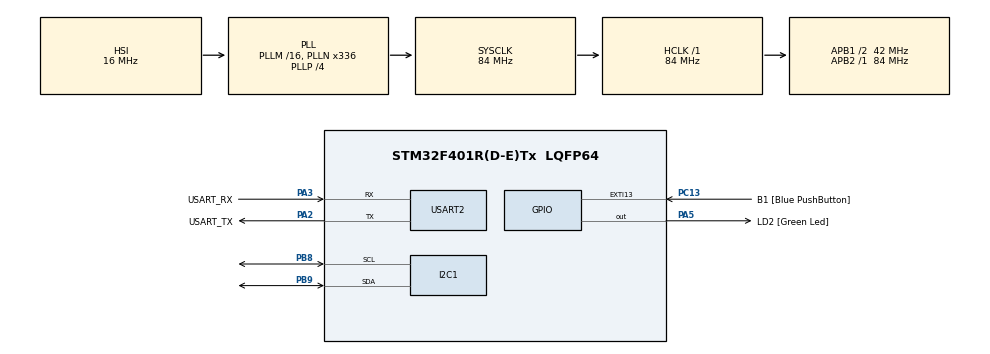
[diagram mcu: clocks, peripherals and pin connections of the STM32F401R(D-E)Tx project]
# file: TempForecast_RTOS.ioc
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FREERTOS.Tasks01=defaultTask,24,128,StartDefaultTask,Default,NULL,Dynamic,NULL,NULL
Mcu.Family=STM32F4
Mcu.Name=STM32F401R(D-E)Tx
Mcu.Package=LQFP64
NVIC.PriorityGroup=NVIC_PRIORITYGROUP_4
PA13.GPIO_Label=TMS
PA13.Mode=Trace_Asynchronous_SW
PA13.Signal=SYS_JTMS-SWDIO
PA14.GPIO_Label=TCK
PA14.Mode=Trace_Asynchronous_SW
PA14.Signal=SYS_JTCK-SWCLK
PA2.GPIO_Label=USART_TX
PA2.GPIO_Mode=GPIO_MODE_AF_PP
PA2.GPIO_PuPd=GPIO_NOPULL
PA2.GPIO_Speed=GPIO_SPEED_FREQ_LOW
PA2.Mode=Asynchronous
PA2.Signal=USART2_TX
PA3.GPIO_Label=USART_RX
PA3.GPIO_Mode=GPIO_MODE_AF_PP
PA3.GPIO_PuPd=GPIO_NOPULL
PA3.GPIO_Speed=GPIO_SPEED_FREQ_LOW
PA3.Mode=Asynchronous
PA3.Signal=USART2_RX
PA5.GPIO_Label=LD2 [Green Led]
PA5.GPIO_Mode=GPIO_MODE_OUTPUT_PP
PA5.GPIO_PuPd=GPIO_NOPULL
PA5.GPIO_Speed=GPIO_SPEED_FREQ_LOW
PA5.Signal=GPIO_Output
PB3.GPIO_Label=SWO
PB3.Mode=Trace_Asynchronous_SW
PB3.Signal=SYS_JTDO-SWO
PB8.Mode=I2C
PB8.Signal=I2C1_SCL
PB9.Mode=I2C
PB9.Signal=I2C1_SDA
PC13-ANTI_TAMP.GPIO_Label=B1 [Blue PushButton]
PC13-ANTI_TAMP.GPIO_ModeDefaultEXTI=GPIO_MODE_IT_FALLING
PC13-ANTI_TAMP.GPIO_PuPd=GPIO_NOPULL
PC13-ANTI_TAMP.Signal=GPXTI13
PC14-OSC32_IN.Mode=LSE-External-Oscillator
PC14-OSC32_IN.Signal=RCC_OSC32_IN
PC15-OSC32_OUT.Mode=LSE-External-Oscillator
PC15-OSC32_OUT.Signal=RCC_OSC32_OUT
PH0\ -\ OSC_IN.Mode=HSE-External-Clock-Source
PH0\ -\ OSC_IN.Signal=RCC_OSC_IN
PH1\ -\ OSC_OUT.Mode=HSE-External-Clock-Source
PH1\ -\ OSC_OUT.Signal=RCC_OSC_OUT
ProjectManager.HeapSize=0x200
ProjectManager.StackSize=0x400
ProjectManager.TargetToolchain=STM32CubeIDE
RCC.48MHZClocksFreq_Value=48000000
RCC.AHBFreq_Value=84000000
RCC.APB1CLKDivider=RCC_HCLK_DIV2
RCC.APB1Freq_Value=42000000
RCC.APB1TimFreq_Value=84000000
RCC.APB2Freq_Value=84000000
RCC.APB2TimFreq_Value=84000000
RCC.CortexFreq_Value=84000000
RCC.HCLKFreq_Value=84000000
RCC.HSE_VALUE=8000000
RCC.HSI_VALUE=16000000
RCC.PLLN=336
RCC.PLLP=RCC_PLLP_DIV4
RCC.PLLQ=7
RCC.SYSCLKFreq_VALUE=84000000
RCC.SYSCLKSource=RCC_SYSCLKSOURCE_PLLCLK
RCC.VCOOutputFreq_Value=336000000
USART2.VirtualMode=VM_ASYNC
VP_FREERTOS_VS_CMSIS_V2.Mode=CMSIS_V2
board=NUCLEO-F401RE

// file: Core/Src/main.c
/* USER CODE BEGIN Header */
/**
  ******************************************************************************
  * @file           : main.c
  * @brief          : Main program body with FreeRTOS BMP280 + LCD
  ******************************************************************************
  */
/* USER CODE END Header */

#include "main.h"
#include "cmsis_os.h"

/* USER CODE BEGIN Includes */
#include "bmp280.h"
#include "lcd.h"
#include "tasks.h" /* prototypes for Task_BMP280 and Task_LCD */
/* USER CODE END Includes */

I2C_HandleTypeDef hi2c1;
UART_HandleTypeDef huart2;

/* Definitions for defaultTask */
osThreadId_t defaultTaskHandle;
const osThreadAttr_t defaultTask_attributes = {
  .name = "defaultTask",
  .stack_size = 128 * 4,
  .priority = (osPriority_t) osPriorityNormal,
};

/* RTOS objects created here and exported via main.h */
osThreadId_t Task_BMP280Handle;
osThreadId_t Task_LCDHandle;

osMutexId_t i2cMutexHandle;
osMessageQueueId_t bmpQueueHandle;

void SystemClock_Config(void);
void MX_GPIO_Init(void);
void MX_USART2_UART_Init(void);
void MX_I2C1_Init(void);
void StartDefaultTask(void *argument);

/* USER CODE BEGIN 0 */
/* QUEUE_SIZE defined in main.h */
 /* USER CODE END 0 */

int main(void)
{
  /* MCU Configuration--------------------------------------------------------*/
  HAL_Init();
  SystemClock_Config();

  /* Initialize all configured peripherals */
  MX_GPIO_Init();
  MX_USART2_UART_Init();
  MX_I2C1_Init();

  /* USER CODE BEGIN 2 */
  /* Initialize sensor and display drivers before starting scheduler */
  BMP280_Init();
  LCD_Init();
  /* USER CODE END 2 */

  /* Init scheduler */
  osKernelInitialize();

  /* USER CODE BEGIN RTOS_MUTEX */
  /* Create the mutex used to protect I2C bus */
  i2cMutexHandle = osMutexNew(NULL);
  /* USER CODE END RTOS_MUTEX */

  /* USER CODE BEGIN RTOS_QUEUES */
  /* Create message queue to send BMP280 readings to LCD task */
  bmpQueueHandle = osMessageQueueNew(QUEUE_SIZE, sizeof(BMP280_Data_t), NULL);
  /* USER CODE END RTOS_QUEUES */

  /* Create the thread(s) */
  /* creation of defaultTask */
  defaultTaskHandle = osThreadNew(StartDefaultTask, NULL, &defaultTask_attributes);

  /* USER CODE BEGIN RTOS_THREADS */
  /* Create BMP280 & LCD tasks (use CMSIS-RTOS V2 osThreadAttr to set priority) */

  const osThreadAttr_t bmpAttr = {
      .name = "BMP280_Task",
      .stack_size = 256 * 4,
      .priority = (osPriority_t) osPriorityHigh
  };
  Task_BMP280Handle = osThreadNew(Task_BMP280, NULL, &bmpAttr);

  const osThreadAttr_t lcdAttr = {
      .name = "LCD_Task",
      .stack_size = 256 * 4,
      .priority = (osPriority_t) osPriorityNormal
  };
  Task_LCDHandle = osThreadNew(Task_LCD, NULL, &lcdAttr);

  /* USER CODE END RTOS_THREADS */

  /* Start scheduler */
  osKernelStart();

  /* We should never get here as control is now taken by the scheduler */
  /* Infinite loop */
  while (1)
  {
  }
}

void SystemClock_Config(void)
{
  RCC_OscInitTypeDef RCC_OscInitStruct = {0};
  RCC_ClkInitTypeDef RCC_ClkInitStruct = {0};

  __HAL_RCC_PWR_CLK_ENABLE();
  __HAL_PWR_VOLTAGESCALING_CONFIG(PWR_REGULATOR_VOLTAGE_SCALE2);

  RCC_OscInitStruct.OscillatorType = RCC_OSCILLATORTYPE_HSI;
  RCC_OscInitStruct.HSIState = RCC_HSI_ON;
  RCC_OscInitStruct.HSICalibrationValue = RCC_HSICALIBRATION_DEFAULT;
  RCC_OscInitStruct.PLL.PLLState = RCC_PLL_ON;
  RCC_OscInitStruct.PLL.PLLSource = RCC_PLLSOURCE_HSI;
  RCC_OscInitStruct.PLL.PLLM = 16;
  RCC_OscInitStruct.PLL.PLLN = 336;
  RCC_OscInitStruct.PLL.PLLP = RCC_PLLP_DIV4;
  RCC_OscInitStruct.PLL.PLLQ = 7;
  if (HAL_RCC_OscConfig(&RCC_OscInitStruct) != HAL_OK) { Error_Handler(); }

  RCC_ClkInitStruct.ClockType = RCC_CLOCKTYPE_HCLK|RCC_CLOCKTYPE_SYSCLK
                              |RCC_CLOCKTYPE_PCLK1|RCC_CLOCKTYPE_PCLK2;
  RCC_ClkInitStruct.SYSCLKSource = RCC_SYSCLKSOURCE_PLLCLK;
  RCC_ClkInitStruct.AHBCLKDivider = RCC_SYSCLK_DIV1;
  RCC_ClkInitStruct.APB1CLKDivider = RCC_HCLK_DIV2;
  RCC_ClkInitStruct.APB2CLKDivider = RCC_HCLK_DIV1;
  if (HAL_RCC_ClockConfig(&RCC_ClkInitStruct, FLASH_LATENCY_2) != HAL_OK) { Error_Handler(); }
}

void MX_I2C1_Init(void)
{

  hi2c1.Instance = I2C1;
  hi2c1.Init.ClockSpeed = 100000;
  hi2c1.Init.DutyCycle = I2C_DUTYCYCLE_2;
  hi2c1.Init.OwnAddress1 = 0;
  hi2c1.Init.AddressingMode = I2C_ADDRESSINGMODE_7BIT;
  hi2c1.Init.DualAddressMode = I2C_DUALADDRESS_DISABLE;
  hi2c1.Init.OwnAddress2 = 0;
  hi2c1.Init.GeneralCallMode = I2C_GENERALCALL_DISABLE;
  hi2c1.Init.NoStretchMode = I2C_NOSTRETCH_DISABLE;
  if (HAL_I2C_Init(&hi2c1) != HAL_OK) { Error_Handler(); }
}

void MX_USART2_UART_Init(void)
{
  huart2.Instance = USART2;
  huart2.Init.BaudRate = 115200;
  huart2.Init.WordLength = UART_WORDLENGTH_8B;
  huart2.Init.StopBits = UART_STOPBITS_1;
  huart2.Init.Parity = UART_PARITY_NONE;
  huart2.Init.Mode = UART_MODE_TX_RX;
  huart2.Init.HwFlowCtl = UART_HWCONTROL_NONE;
  huart2.Init.OverSampling = UART_OVERSAMPLING_16;
  if (HAL_UART_Init(&huart2) != HAL_OK) { Error_Handler(); }
}

void MX_GPIO_Init(void)
{
  GPIO_InitTypeDef GPIO_InitStruct = {0};

  __HAL_RCC_GPIOC_CLK_ENABLE();
  __HAL_RCC_GPIOH_CLK_ENABLE();
  __HAL_RCC_GPIOA_CLK_ENABLE();
  __HAL_RCC_GPIOB_CLK_ENABLE();

  /*Configure GPIO pin Output Level */
  HAL_GPIO_WritePin(LD2_GPIO_Port, LD2_Pin, GPIO_PIN_RESET);

  /*Configure GPIO pin : B1_Pin */
  GPIO_InitStruct.Pin = B1_Pin;
  GPIO_InitStruct.Mode = GPIO_MODE_IT_FALLING;
  GPIO_InitStruct.Pull = GPIO_NOPULL;
  HAL_GPIO_Init(B1_GPIO_Port, &GPIO_InitStruct);

  /*Configure GPIO pin : LD2_Pin */
  GPIO_InitStruct.Pin = LD2_Pin;
  GPIO_InitStruct.Mode = GPIO_MODE_OUTPUT_PP;
  GPIO_InitStruct.Pull = GPIO_NOPULL;
  GPIO_InitStruct.Speed = GPIO_SPEED_FREQ_LOW;
  HAL_GPIO_Init(LD2_GPIO_Port, &GPIO_InitStruct);
}

void StartDefaultTask(void *argument)
{
  /* USER CODE BEGIN 5 */
  /* Infinite loop (keeps background idle) */
  for(;;)
  {
    osDelay(1000);
  }
  /* USER CODE END 5 */
}

void Error_Handler(void)
{
  __disable_irq();
  while (1) { }
}
